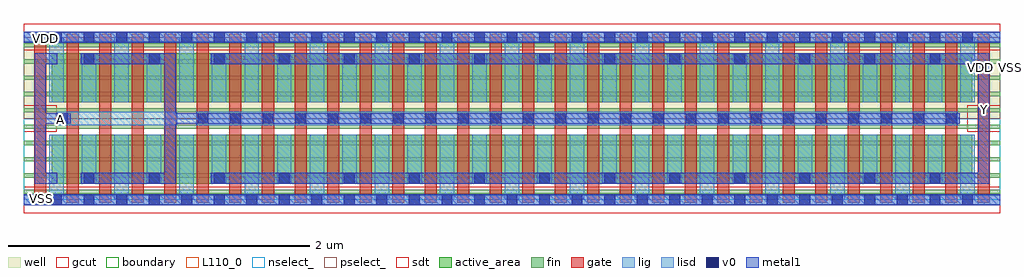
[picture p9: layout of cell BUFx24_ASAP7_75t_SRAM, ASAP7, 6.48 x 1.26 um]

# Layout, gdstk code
import gdstk
lib = gdstk.Library(unit=1e-6, precision=2.5e-10)
def R(c, l, rs):  # rectangles x0, y0, x1, y1
    for r in rs: c.add(gdstk.rectangle(r[:2], r[2:], *l))
def A(c, l, x, y, w, h, nx, ny, dx, dy):  # array of equal rectangles
    R(c, l, [(x+i*dx, y+j*dy, x+i*dx+w, y+j*dy+h) for i in range(nx) for j in range(ny)])
def P(c, l, *ps):  # polygons
    for p in ps: c.add(gdstk.Polygon(p, *l))
well = (1, 0)
fin = (2, 0)
gate = (7, 0)
gcut = (10, 0)
active_area = (11, 0)
nselect_ = (12, 0)
pselect_ = (13, 0)
lig = (16, 0)
lisd = (17, 0)
v0 = (18, 0)
metal1 = (19, 0)
sdt = (88, 0)
boundary = (100, 0)
L110_0 = (110, 0)

bufx24_asap7_75t_sram = lib.new_cell('BUFx24_ASAP7_75t_SRAM')
R(bufx24_asap7_75t_sram, well, [(0,0.54,6.48,1.08)])
A(bufx24_asap7_75t_sram, fin, 0, 0.04, 6.48, 0.028, 1, 10, 0, 0.108)
A(bufx24_asap7_75t_sram, gate, 0.068, -0.02, 0.08, 1.122, 30, 1, 0.216, 0)
R(bufx24_asap7_75t_sram, gcut, [(0,-0.088,6.48,0.088), (0,0.452,0.216,0.628), (6.264,0.452,6.48,0.628), (0,0.992,6.48,1.168)])
R(bufx24_asap7_75t_sram, active_area, [(0.184,0.108,6.296,0.432), (0.184,0.648,6.296,0.972)])
R(bufx24_asap7_75t_sram, nselect_, [(0,0,6.48,0.54)])
R(bufx24_asap7_75t_sram, pselect_, [(0,0.54,6.48,1.08)])
R(bufx24_asap7_75t_sram, lig, [(0,-0.032,6.48,0.032), (0.216,0.496,1.016,0.584), (1.144,0.496,6.2,0.584), (0,1.048,6.48,1.112)])
A(bufx24_asap7_75t_sram, lisd, 0.168, 0, 0.096, 0.432, 15, 2, 0.432, 0.648)
A(bufx24_asap7_75t_sram, lisd, 0.384, 0.108, 0.096, 0.324, 14, 2, 0.432, 0.54)
A(bufx24_asap7_75t_sram, v0, 0.18, -0.036, 0.072, 0.072, 29, 2, 0.216, 1.08)
A(bufx24_asap7_75t_sram, v0, 0.396, 0.108, 0.072, 0.072, 14, 2, 0.432, 0.792)
A(bufx24_asap7_75t_sram, v0, 1.152, 0.504, 0.072, 0.072, 24, 1, 0.216, 0)
R(bufx24_asap7_75t_sram, v0, [(0.22,0.504,0.292,0.576)])
R(bufx24_asap7_75t_sram, metal1, [(0,-0.036,6.48,0.036), (0,1.044,6.48,1.116)])
P(bufx24_asap7_75t_sram, metal1, [(6.408,0.972),(1.24,0.972),(1.24,0.9),(6.336,0.9),(6.336,0.18),(1.24,0.18),(1.24,0.108),(6.408,0.108)],
  [(6.212,0.576),(1.008,0.576),(1.008,0.972),(0.376,0.972),(0.376,0.9),(0.936,0.9),(0.936,0.18),(0.376,0.18),(0.376,0.108),(1.008,0.108),(1.008,0.504),(6.212,0.504)],
  [(0.312,0.576),(0.144,0.576),(0.144,0.9),(0.22,0.9),(0.22,0.972),(0.072,0.972),(0.072,0.108),(0.22,0.108),(0.22,0.18),(0.144,0.18),(0.144,0.504),(0.312,0.504)])
A(bufx24_asap7_75t_sram, sdt, 0.168, 0.108, 0.096, 0.324, 29, 2, 0.216, 0.54)
R(bufx24_asap7_75t_sram, boundary, [(0,0,6.48,1.08)])
R(bufx24_asap7_75t_sram, L110_0, [(0,0,6.48,1.08)])
bufx24_asap7_75t_sram.add(gdstk.Label('VSS', (6.628,0.876), layer=3, texttype=251))
bufx24_asap7_75t_sram.add(gdstk.Label('VDD', (6.352,0.88), layer=1, texttype=251))
bufx24_asap7_75t_sram.add(gdstk.Label('VDD', (0.144,1.07), layer=19, texttype=251))
bufx24_asap7_75t_sram.add(gdstk.Label('VSS', (0.116,0.012), layer=19, texttype=251))
bufx24_asap7_75t_sram.add(gdstk.Label('A', (0.244,0.534), layer=19, texttype=251))
bufx24_asap7_75t_sram.add(gdstk.Label('Y', (6.38,0.598), layer=19, texttype=251))

lib.write_gds('BUFx24_ASAP7_75t_SRAM.gds')
